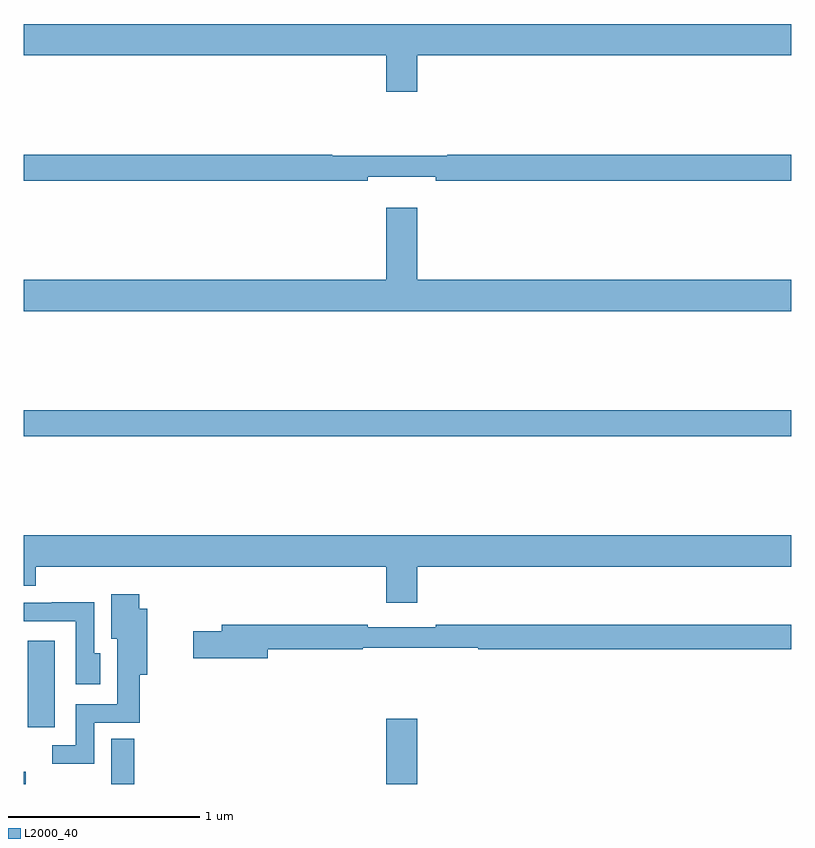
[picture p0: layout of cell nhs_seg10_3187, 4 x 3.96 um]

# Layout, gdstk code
import gdstk
lib = gdstk.Library(unit=1e-6, precision=1e-09)
def R(c, l, rs):  # rectangles x0, y0, x1, y1
    for r in rs: c.add(gdstk.rectangle(r[:2], r[2:], *l))
def P(c, l, *ps):  # polygons
    for p in ps: c.add(gdstk.Polygon(p, *l))
L2000_40 = (2000, 40)

nhs_seg10_3187 = lib.new_cell('nhs_seg10_3187')
R(nhs_seg10_3187, L2000_40, [(283,1316.5,283.011,1316.563), (283.457,1316.5,283.576,1316.735), (284.888,1316.5,285.052,1316.839), (283.022,1316.796,283.162,1317.247), (283,1318.312,287,1318.448)])
P(nhs_seg10_3187, L2000_40, [(285.052,1320.296),(287,1320.296),(287,1320.46),(283,1320.46),(283,1320.296),(284.888,1320.296),(284.888,1320.108),(285.052,1320.108)],
  [(284.792,1319.663),(285.148,1319.663),(285.148,1319.644),(287,1319.644),(287,1319.78),(285.208,1319.78),(285.208,1319.773),(284.608,1319.773),(284.608,1319.78),(283,1319.78),(283,1319.644),(284.792,1319.644)],
  [(287,1319.128),(285.052,1319.128),(285.052,1319.503),(284.888,1319.503),(284.888,1319.128),(283,1319.128),(283,1318.964),(287,1318.964)],
  [(283,1317.533),(283.064,1317.533),(283.064,1317.632),(284.888,1317.632),(284.888,1317.444),(285.052,1317.444),(285.052,1317.632),(287,1317.632),(287,1317.796),(283,1317.796)],
  [(283.368,1316.82),(283.606,1316.82),(283.606,1317.068),(283.645,1317.068),(283.645,1317.412),(283.601,1317.412),(283.601,1317.49),(283.457,1317.49),(283.457,1317.257),(283.487,1317.257),(283.487,1316.916),(283.272,1316.916),(283.272,1316.703),(283.149,1316.703),(283.149,1316.606),(283.368,1316.606)],
  [(283.399,1317.18),(283.368,1317.18),(283.368,1317.446),(283.147,1317.446),(283.147,1317.444),(283,1317.444),(283,1317.348),(283.272,1317.348),(283.272,1317.021),(283.399,1317.021)],
  [(284.272,1317.202),(284.768,1317.202),(284.768,1317.21),(285.368,1317.21),(285.368,1317.202),(287,1317.202),(287,1317.331),(285.148,1317.331),(285.148,1317.318),(284.792,1317.318),(284.792,1317.331),(284.033,1317.331),(284.033,1317.297),(283.884,1317.297),(283.884,1317.155),(284.272,1317.155)])

lib.write_gds('nhs_seg10_3187.gds')
